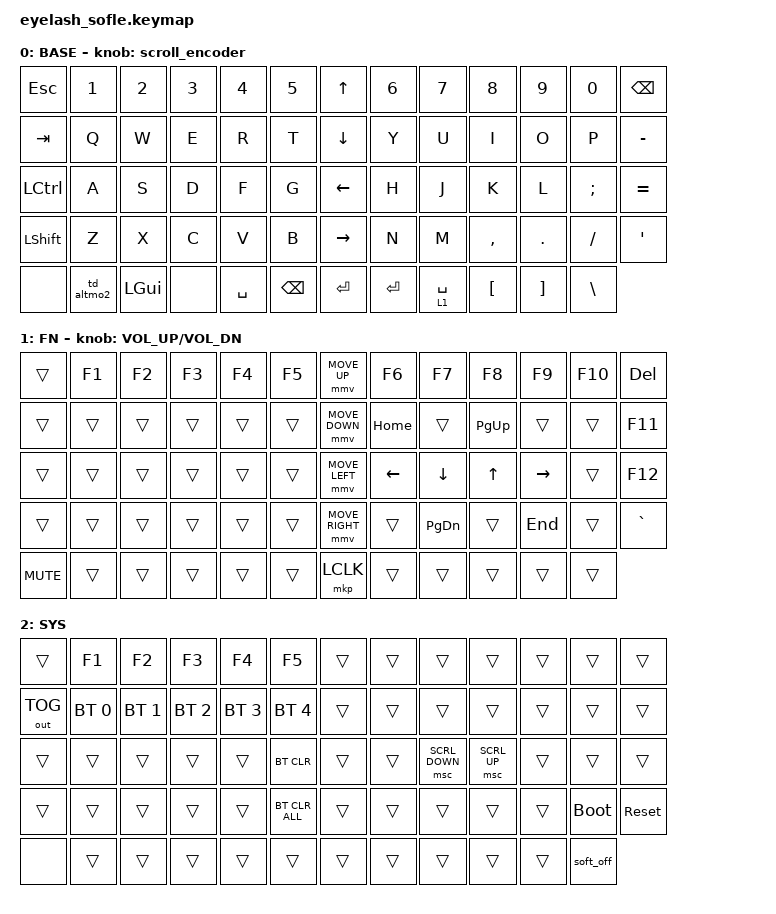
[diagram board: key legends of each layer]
#define ZMK_POINTING_DEFAULT_MOVE_VAL 1200  // 600
#define ZMK_POINTING_DEFAULT_SCRL_VAL 100    // 10
#include <input/processors.dtsi>
#include <behaviors.dtsi>
#include <dt-bindings/zmk/bt.h>
#include <dt-bindings/zmk/keys.h>
#include <dt-bindings/zmk/outputs.h>
#include <dt-bindings/zmk/pointing.h>
#include <dt-bindings/zmk/rgb.h>
#include <zephyr/dt-bindings/input/input-event-codes.h>

/ {
  zip_scroll_scaler: zip_scroll_scaler {
    compatible = "zmk,input-processor-scaler";
    #input-processor-cells = <2>;
    type = <INPUT_EV_REL>;
    codes = <INPUT_REL_WHEEL INPUT_REL_HWHEEL>;
    track-remainders;
  };
};

&mmv_input_listener {
       input-processors = <&zip_xy_scaler 2 1>;
};

&msc_input_listener {
       input-processors = <&zip_scroll_scaler 2 1>;
};

&msc {
    acceleration-exponent = <0>;
    time-to-max-speed-ms = <0>;
    delay-ms = <0>;
};

&mmv {
    time-to-max-speed-ms = <400>;
    acceleration-exponent = <1>;
};


/ {

    behaviors {
        scroll_encoder: scroll_encoder {
            compatible = "zmk,behavior-sensor-rotate";
            #sensor-binding-cells = <0>;
            bindings = <&msc SCRL_DOWN>, <&msc SCRL_UP>;
            tap-ms = <30>;
        };

        // Hold-tap: hold preferred
        ht_hpmo: ht_hpmo {
            compatible = "zmk,behavior-hold-tap";
            #binding-cells = <2>;
            flavor = "hold-preferred";
            tapping-term-ms = <200>;
            bindings = <&mo>, <&kp>;
        };

        // Tap-dance: LALT -> MO(2)
        td_altmo2: td_altmo2 {
            compatible = "zmk,behavior-tap-dance";
            #binding-cells = <0>;
            tapping-term-ms = <200>;
            bindings = <&kp LALT>, <&mo 2>;
        };
    };

    keymap {
        compatible = "zmk,keymap";

        layer0 {
            bindings = <
&kp ESC         &kp N1               &kp N2        &kp N3        &kp N4        &kp N5         &kp UP_ARROW     &kp N6            &kp N7             &kp N8          &kp N9           &kp N0         &kp BACKSPACE
&kp TAB         &kp Q                &kp W         &kp E         &kp R         &kp T          &kp DOWN_ARROW   &kp Y             &kp U              &kp I           &kp O            &kp P          &kp MINUS
&kp LCTRL       &kp A                &kp S         &kp D         &kp F         &kp G          &kp LEFT_ARROW   &kp H             &kp J              &kp K           &kp L            &kp SEMI       &kp EQUAL
&kp LSHIFT      &kp Z                &kp X         &kp C         &kp V         &kp B          &kp RIGHT_ARROW  &kp N             &kp M              &kp COMMA       &kp DOT          &kp FSLH       &kp SINGLE_QUOTE
&none           &td_altmo2           &kp LGUI      &none         &kp SPACE     &kp BACKSPACE  &kp ENTER        &kp RET           &ht_hpmo 1 SPACE   &kp LBKT        &kp RBKT         &kp BSLH
            >;

            display-name = "BASE";
            sensor-bindings = <&scroll_encoder>;
        };

        layer_1 {
            bindings = <
&trans          &kp F1               &kp F2        &kp F3        &kp F4        &kp F5         &mmv MOVE_UP     &kp F6            &kp F7             &kp F8          &kp F9           &kp F10        &kp DEL
&trans          &trans               &trans        &trans        &trans        &trans         &mmv MOVE_DOWN   &kp HOME          &trans             &kp PG_UP       &trans           &trans         &kp F11
&trans          &trans               &trans        &trans        &trans        &trans         &mmv MOVE_LEFT   &kp LEFT          &kp DOWN           &kp UP          &kp RIGHT        &trans         &kp F12
&trans          &trans               &trans        &trans        &trans        &trans         &mmv MOVE_RIGHT  &trans            &kp PG_DN          &trans          &kp END          &trans         &kp GRAVE
&kp C_MUTE      &trans               &trans        &trans        &trans        &trans         &mkp LCLK        &trans            &trans             &trans          &trans           &trans
            >;

            display-name = "FN";
            sensor-bindings = <&inc_dec_kp C_VOLUME_UP C_VOL_DN>;
        };

        layer_2 {
            bindings = <
&trans          &kp F1               &kp F2        &kp F3        &kp F4        &kp F5         &trans           &trans            &trans             &trans          &trans           &trans         &trans
&out OUT_TOG    &bt BT_SEL 0         &bt BT_SEL 1  &bt BT_SEL 2  &bt BT_SEL 3  &bt BT_SEL 4   &trans           &trans            &trans             &trans          &trans           &trans         &trans
&trans          &trans               &trans        &trans        &trans        &bt BT_CLR     &trans           &trans            &msc SCRL_DOWN     &msc SCRL_UP    &trans           &trans         &trans
&trans          &trans               &trans        &trans        &trans        &bt BT_CLR_ALL &trans           &trans            &trans             &trans          &trans           &bootloader    &sys_reset
&none           &trans               &trans        &trans        &trans        &trans         &trans           &trans            &trans             &trans          &trans           &soft_off
            >;

            display-name = "SYS";
        };

    };
};
